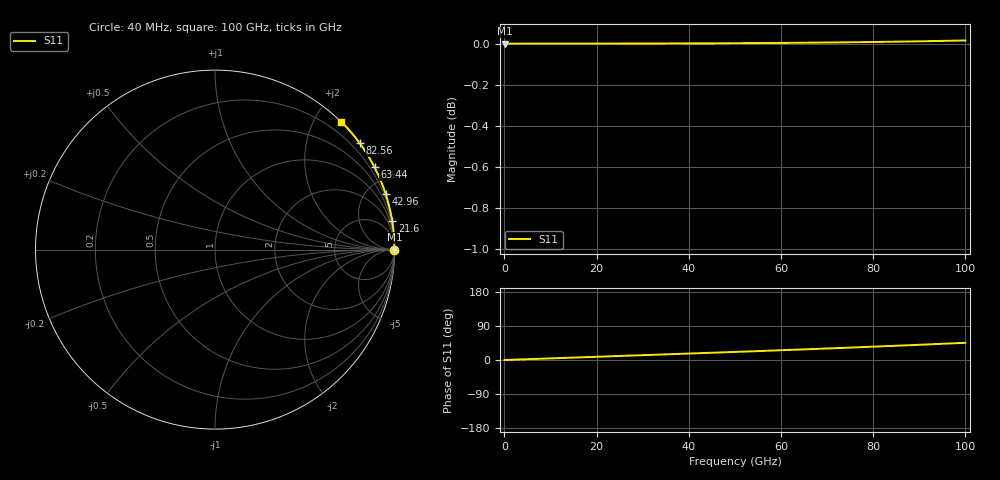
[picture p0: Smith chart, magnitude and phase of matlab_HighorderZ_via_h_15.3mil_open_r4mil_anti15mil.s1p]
#  GHz  S  RI  R  50
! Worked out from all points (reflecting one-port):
!   2500 points, 40 MHz to 100 GHz, reference 50 ohm
!   lowest |S11| = 0.0 dB at 40 MHz (marker M1)
!   phase of S11 starts at 0 deg and turns +45 deg over the sweep
!   S11 on the Smith chart (normalised r, x): 40 MHz: open; 21.6 GHz: -0, +13; 42.96 GHz: -0.00, +6.25; 63.44 GHz: -0.00, +4.12; 82.56 GHz: -0.01, +3.05; 100 GHz: -0.01, +2.39
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0.04  1 0.000318
0.48  1 0.0037
6.28  0.9989 0.0468
12.56  0.9957 0.0927
17.08  0.9921 0.1256
21.6  0.9874 0.1583
25.04  0.9831 0.1832
31.32  0.9736 0.2285
37.56  0.962 0.2734
42.96  0.9502 0.3121
46.52  0.9415 0.3376
50.04  0.9321 0.3628
53.2  0.923 0.3854
56.32  0.9135 0.4077
59.44  0.9033 0.43
62.52  0.8926 0.4519
63.44  0.8892 0.4584
69.28  0.8668 0.4999
72.16  0.8548 0.5203
75.04  0.8422 0.5406
78.84  0.8245 0.5673
82.56  0.8061 0.5934
87.52  0.7798 0.628
90.36  0.7637 0.6476
93.16  0.7471 0.6669
96.36  0.7272 0.6888
99.52  0.7065 0.7102
100  0.7033 0.7134
